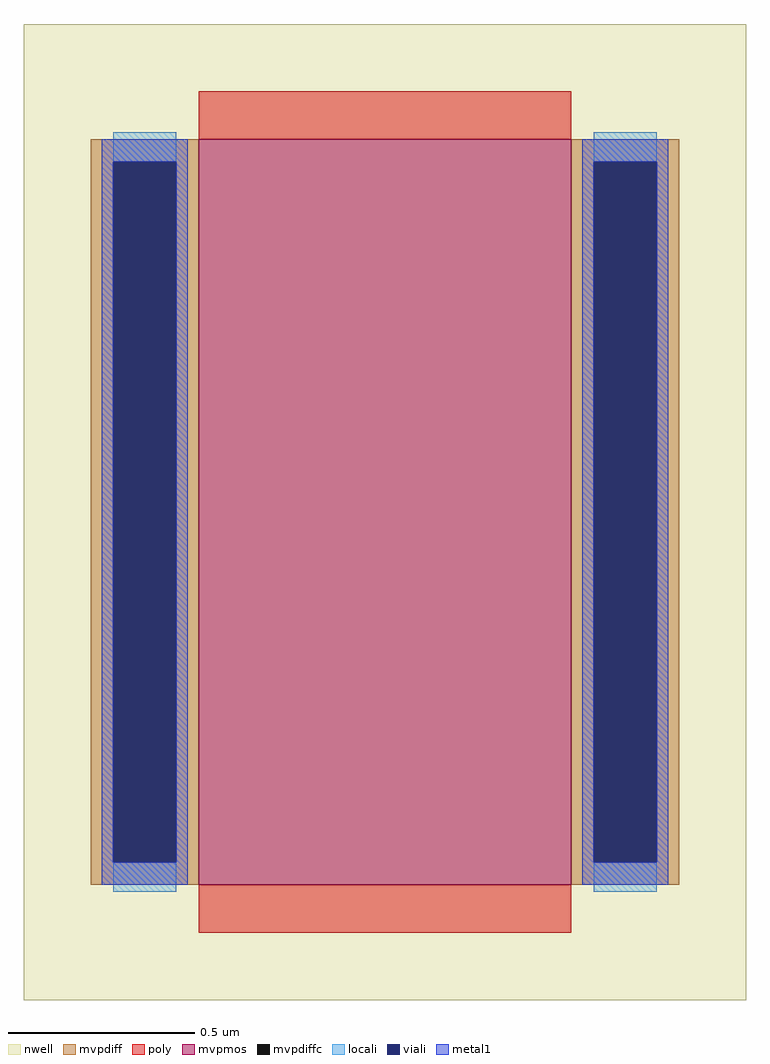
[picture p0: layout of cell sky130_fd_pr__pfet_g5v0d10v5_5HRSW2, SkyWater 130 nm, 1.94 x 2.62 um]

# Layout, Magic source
magic
tech sky130A
<< nwell >>
rect -97 -131 97 131
<< mvpmos >>
rect -50 -100 50 100
<< mvpdiff >>
rect -79 94 -50 100
rect -79 -94 -73 94
rect -56 -94 -50 94
rect -79 -100 -50 -94
rect 50 94 79 100
rect 50 -94 56 94
rect 73 -94 79 94
rect 50 -100 79 -94
<< mvpdiffc >>
rect -73 -94 -56 94
rect 56 -94 73 94
<< poly >>
rect -50 100 50 113
rect -50 -113 50 -100
<< locali >>
rect -73 94 -56 102
rect -73 -102 -56 -94
rect 56 94 73 102
rect 56 -102 73 -94
<< viali >>
rect -73 -94 -56 94
rect 56 -94 73 94
<< metal1 >>
rect -76 94 -53 100
rect -76 -94 -73 94
rect -56 -94 -53 94
rect -76 -100 -53 -94
rect 53 94 76 100
rect 53 -94 56 94
rect 73 -94 76 94
rect 53 -100 76 -94
<< properties >>
string gencell sky130_fd_pr__pfet_g5v0d10v5
string library sky130
string parameters w 2 l 1 m 1 nf 1 diffcov 100 polycov 100 guard 0 glc 1 grc 1 gtc 1 gbc 1 tbcov 100 rlcov 100 topc 0 botc 0 poverlap 0 doverlap 1 lmin 0.50 wmin 0.42 compatible {sky130_fd_pr__pfet_01v8  sky130_fd_pr__pfet_01v8_lvt sky130_fd_pr__pfet_01v8_hvt  sky130_fd_pr__pfet_g5v0d10v5} full_metal 1 viasrc 100 viadrn 100 viagate 100 viagb 0 viagr 0 viagl 0 viagt 0
<< end >>
